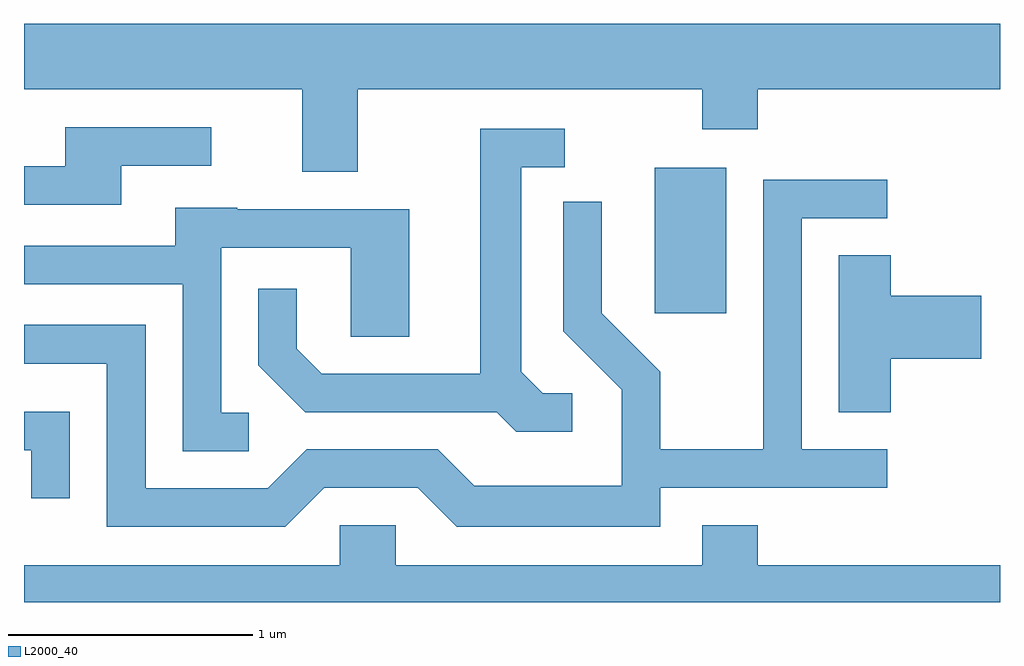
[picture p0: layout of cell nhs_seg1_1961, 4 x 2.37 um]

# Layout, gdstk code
import gdstk
lib = gdstk.Library(unit=1e-6, precision=1e-09)
def R(c, l, rs):  # rectangles x0, y0, x1, y1
    for r in rs: c.add(gdstk.rectangle(r[:2], r[2:], *l))
def P(c, l, *ps):  # polygons
    for p in ps: c.add(gdstk.Polygon(p, *l))
L2000_40 = (2000, 40)

nhs_seg1_1961 = lib.new_cell('nhs_seg1_1961')
R(nhs_seg1_1961, L2000_40, [(248.196,880.896,248.489,881.494)])
P(nhs_seg1_1961, L2000_40, [(246.979,881.816),(248.391,881.816),(248.391,881.651),(248.619,881.651),(248.619,881.816),(249.611,881.816),(249.611,882.084),(245.611,882.084),(245.611,881.816),(246.751,881.816),(246.751,881.476),(246.979,881.476)],
  [(246.009,881.501),(246.378,881.501),(246.378,881.659),(245.781,881.659),(245.781,881.499),(245.611,881.499),(245.611,881.341),(246.009,881.341)],
  [(247.858,880.569),(247.737,880.569),(247.649,880.657),(247.649,881.496),(247.828,881.496),(247.828,881.654),(247.481,881.654),(247.481,880.649),(246.832,880.649),(246.729,880.752),(246.729,880.998),(246.571,880.998),(246.571,880.684),(246.764,880.491),(247.549,880.491),(247.629,880.411),(247.858,880.411)],
  [(246.842,880.181),(247.224,880.181),(247.384,880.021),(248.219,880.021),(248.219,880.181),(249.148,880.181),(249.148,880.339),(248.799,880.339),(248.799,881.286),(249.148,881.286),(249.148,881.444),(248.641,881.444),(248.641,880.339),(248.219,880.339),(248.219,880.657),(247.979,880.897),(247.979,881.353),(247.821,881.353),(247.821,880.824),(248.061,880.584),(248.061,880.189),(247.457,880.189),(247.307,880.339),(246.769,880.339),(246.609,880.179),(246.109,880.179),(246.109,880.849),(245.611,880.849),(245.611,880.691),(245.951,880.691),(245.951,880.021),(246.682,880.021)],
  [(246.533,880.489),(246.419,880.489),(246.419,881.166),(246.951,881.166),(246.951,880.801),(247.189,880.801),(247.189,881.324),(246.485,881.324),(246.485,881.329),(246.231,881.329),(246.231,881.174),(245.611,881.174),(245.611,881.016),(246.261,881.016),(246.261,880.331),(246.533,880.331)],
  [(249.164,880.711),(249.534,880.711),(249.534,880.969),(249.164,880.969),(249.164,881.134),(248.951,881.134),(248.951,880.491),(249.164,880.491)],
  [(245.799,880.494),(245.611,880.494),(245.611,880.336),(245.641,880.336),(245.641,880.138),(245.799,880.138)],
  [(249.611,879.864),(248.619,879.864),(248.619,880.029),(248.391,880.029),(248.391,879.864),(247.134,879.864),(247.134,880.029),(246.906,880.029),(246.906,879.864),(245.611,879.864),(245.611,879.712),(249.611,879.712)])

lib.write_gds('nhs_seg1_1961.gds')
